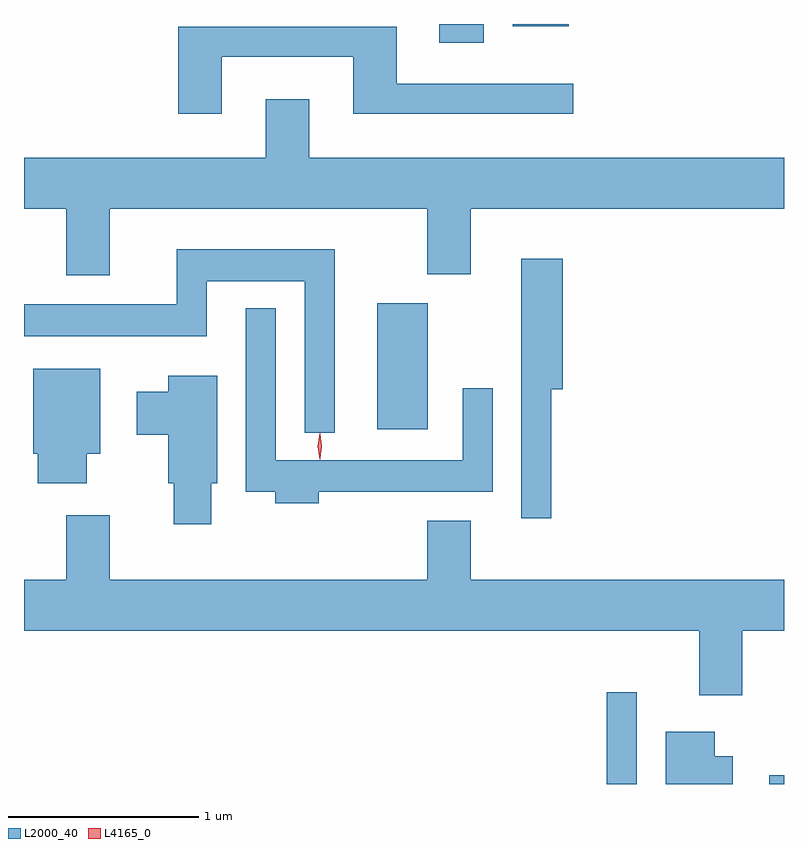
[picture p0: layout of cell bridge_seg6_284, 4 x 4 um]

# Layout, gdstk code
import gdstk
lib = gdstk.Library(unit=1e-6, precision=1e-09)
def R(c, l, rs):  # rectangles x0, y0, x1, y1
    for r in rs: c.add(gdstk.rectangle(r[:2], r[2:], *l))
def P(c, l, *ps):  # polygons
    for p in ps: c.add(gdstk.Polygon(p, *l))
L2000_40 = (2000, 40)
L4165_0 = (4165, 0)

bridge_seg6_284 = lib.new_cell('bridge_seg6_284')
R(bridge_seg6_284, L2000_40, [(1258.756,1555.889,1258.914,1556.373), (1259.611,1555.889,1259.688,1555.934), (1257.546,1557.756,1257.814,1558.419), (1257.873,1559.791,1258.109,1559.889), (1258.261,1559.876,1258.554,1559.889)])
P(bridge_seg6_284, L2000_40, [(1256.729,1559.716),(1257.421,1559.716),(1257.421,1559.416),(1258.578,1559.416),(1258.578,1559.574),(1257.649,1559.574),(1257.649,1559.874),(1256.501,1559.874),(1256.501,1559.416),(1256.729,1559.416)],
  [(1256.139,1558.916),(1257.811,1558.916),(1257.811,1558.571),(1258.039,1558.571),(1258.039,1558.916),(1259.688,1558.916),(1259.688,1559.184),(1257.189,1559.184),(1257.189,1559.494),(1256.961,1559.494),(1256.961,1559.184),(1255.688,1559.184),(1255.688,1558.916),(1255.911,1558.916),(1255.911,1558.566),(1256.139,1558.566)],
  [(1257.324,1558.704),(1256.491,1558.704),(1256.491,1558.414),(1255.688,1558.414),(1255.688,1558.246),(1256.649,1558.246),(1256.649,1558.536),(1257.166,1558.536),(1257.166,1557.738),(1257.324,1557.738)],
  [(1258.464,1557.966),(1258.524,1557.966),(1258.524,1558.654),(1258.306,1558.654),(1258.306,1557.288),(1258.464,1557.288)],
  [(1257.239,1557.426),(1258.154,1557.426),(1258.154,1557.973),(1257.996,1557.973),(1257.996,1557.594),(1257.014,1557.594),(1257.014,1558.393),(1256.856,1558.393),(1256.856,1557.426),(1257.011,1557.426),(1257.011,1557.366),(1257.239,1557.366)],
  [(1256.019,1557.626),(1256.089,1557.626),(1256.089,1558.074),(1255.736,1558.074),(1255.736,1557.626),(1255.761,1557.626),(1255.761,1557.471),(1256.019,1557.471)],
  [(1256.674,1557.471),(1256.704,1557.471),(1256.704,1558.039),(1256.446,1558.039),(1256.446,1557.954),(1256.281,1557.954),(1256.281,1557.726),(1256.446,1557.726),(1256.446,1557.471),(1256.476,1557.471),(1256.476,1557.256),(1256.674,1557.256)],
  [(1259.469,1556.696),(1259.688,1556.696),(1259.688,1556.964),(1258.039,1556.964),(1258.039,1557.274),(1257.811,1557.274),(1257.811,1556.964),(1256.139,1556.964),(1256.139,1557.304),(1255.911,1557.304),(1255.911,1556.964),(1255.688,1556.964),(1255.688,1556.696),(1259.241,1556.696),(1259.241,1556.356),(1259.469,1556.356)],
  [(1259.419,1556.034),(1259.324,1556.034),(1259.324,1556.164),(1259.066,1556.164),(1259.066,1555.889),(1259.419,1555.889)])
P(bridge_seg6_284, L4165_0, [(1257.245,1557.597),(1257.244,1557.598),(1257.235,1557.667),(1257.244,1557.736),(1257.245,1557.736),(1257.245,1557.736),(1257.255,1557.667),(1257.245,1557.598)],
  [(1257.246,1557.599),(1257.245,1557.6),(1257.236,1557.666),(1257.245,1557.732),(1257.246,1557.733),(1257.246,1557.732),(1257.256,1557.666),(1257.246,1557.6)])

lib.write_gds('bridge_seg6_284.gds')
